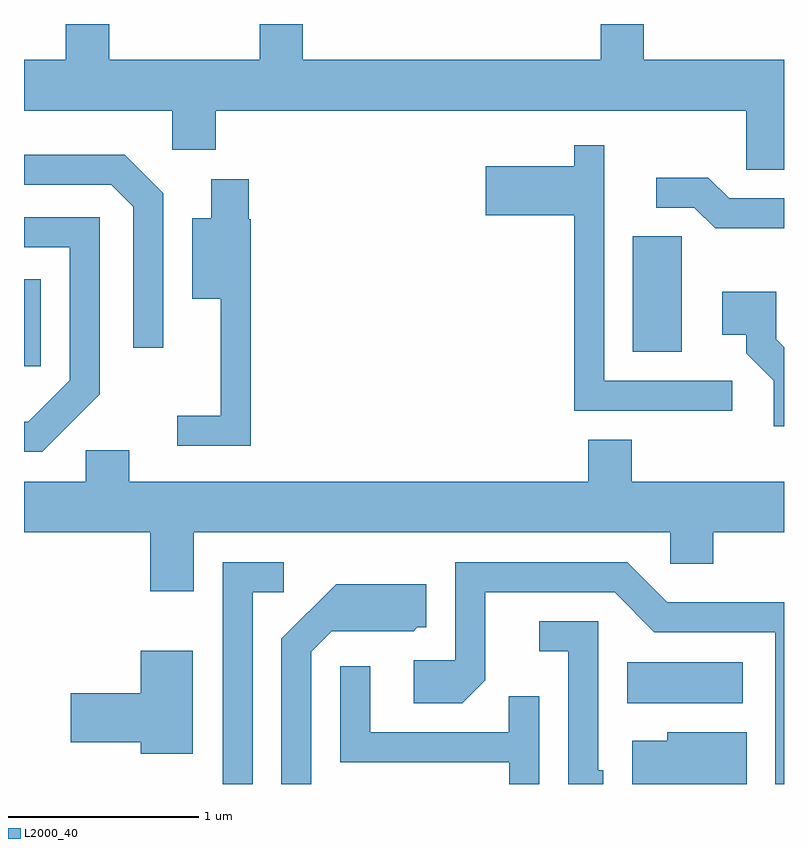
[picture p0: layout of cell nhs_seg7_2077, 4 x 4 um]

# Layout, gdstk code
import gdstk
lib = gdstk.Library(unit=1e-6, precision=1e-09)
def R(c, l, rs):  # rectangles x0, y0, x1, y1
    for r in rs: c.add(gdstk.rectangle(r[:2], r[2:], *l))
def P(c, l, *ps):  # polygons
    for p in ps: c.add(gdstk.Polygon(p, *l))
L2000_40 = (2000, 40)

nhs_seg7_2077 = lib.new_cell('nhs_seg7_2077')
R(nhs_seg7_2077, L2000_40, [(250.786,1786.676,251.394,1786.894), (247.611,1788.451,247.699,1788.909), (250.816,1788.526,251.074,1789.134)])
P(nhs_seg7_2077, L2000_40, [(251.611,1790.064),(250.874,1790.064),(250.874,1790.252),(250.646,1790.252),(250.646,1790.064),(249.079,1790.064),(249.079,1790.252),(248.851,1790.252),(248.851,1790.064),(248.059,1790.064),(248.059,1790.252),(247.831,1790.252),(247.831,1790.064),(247.611,1790.064),(247.611,1789.796),(248.391,1789.796),(248.391,1789.591),(248.619,1789.591),(248.619,1789.796),(251.411,1789.796),(251.411,1789.486),(251.611,1789.486)],
  [(251.338,1788.374),(250.664,1788.374),(250.664,1789.613),(250.506,1789.613),(250.506,1789.504),(250.041,1789.504),(250.041,1789.246),(250.506,1789.246),(250.506,1788.216),(251.338,1788.216)],
  [(248.344,1789.362),(248.142,1789.564),(247.611,1789.564),(247.611,1789.406),(248.069,1789.406),(248.186,1789.289),(248.186,1788.548),(248.344,1788.548)],
  [(251.611,1789.334),(251.322,1789.334),(251.212,1789.444),(250.938,1789.444),(250.938,1789.286),(251.139,1789.286),(251.249,1789.176),(251.611,1789.176)],
  [(248.804,1789.225),(248.794,1789.225),(248.794,1789.434),(248.596,1789.434),(248.596,1789.229),(248.496,1789.229),(248.496,1788.806),(248.646,1788.806),(248.646,1788.189),(248.418,1788.189),(248.418,1788.031),(248.804,1788.031)],
  [(248.009,1788.304),(248.009,1789.234),(247.611,1789.234),(247.611,1789.076),(247.851,1789.076),(247.851,1788.377),(247.634,1788.159),(247.611,1788.159),(247.611,1788.001),(247.707,1788.001)],
  [(251.611,1788.55),(251.569,1788.592),(251.569,1788.844),(251.286,1788.844),(251.286,1788.616),(251.411,1788.616),(251.411,1788.519),(251.556,1788.374),(251.556,1788.136),(251.611,1788.136)],
  [(248.504,1787.576),(251.011,1787.576),(251.011,1787.411),(251.239,1787.411),(251.239,1787.576),(251.611,1787.576),(251.611,1787.844),(250.809,1787.844),(250.809,1788.064),(250.581,1788.064),(250.581,1787.844),(248.164,1787.844),(248.164,1788.009),(247.936,1788.009),(247.936,1787.844),(247.611,1787.844),(247.611,1787.576),(248.276,1787.576),(248.276,1787.266),(248.504,1787.266)],
  [(251.611,1787.209),(250.997,1787.209),(250.787,1787.419),(249.881,1787.419),(249.881,1786.904),(249.661,1786.904),(249.661,1786.676),(249.917,1786.676),(250.039,1786.799),(250.039,1787.261),(250.719,1787.261),(250.929,1787.051),(251.566,1787.051),(251.566,1786.252),(251.611,1786.252)],
  [(248.814,1787.261),(248.978,1787.261),(248.978,1787.419),(248.656,1787.419),(248.656,1786.252),(248.814,1786.252)],
  [(249.124,1786.949),(249.232,1787.056),(249.662,1787.056),(249.682,1787.076),(249.729,1787.076),(249.729,1787.304),(249.254,1787.304),(248.966,1787.017),(248.966,1786.252),(249.124,1786.252)],
  [(250.659,1786.324),(250.634,1786.324),(250.634,1787.109),(250.323,1787.109),(250.323,1786.951),(250.476,1786.951),(250.476,1786.252),(250.659,1786.252)],
  [(248.499,1786.954),(248.226,1786.954),(248.226,1786.729),(247.856,1786.729),(247.856,1786.471),(248.226,1786.471),(248.226,1786.411),(248.499,1786.411)],
  [(250.324,1786.713),(250.161,1786.713),(250.161,1786.524),(249.434,1786.524),(249.434,1786.873),(249.276,1786.873),(249.276,1786.366),(250.166,1786.366),(250.166,1786.252),(250.324,1786.252)],
  [(251.414,1786.524),(250.996,1786.524),(250.996,1786.479),(250.811,1786.479),(250.811,1786.252),(251.414,1786.252)])

lib.write_gds('nhs_seg7_2077.gds')
